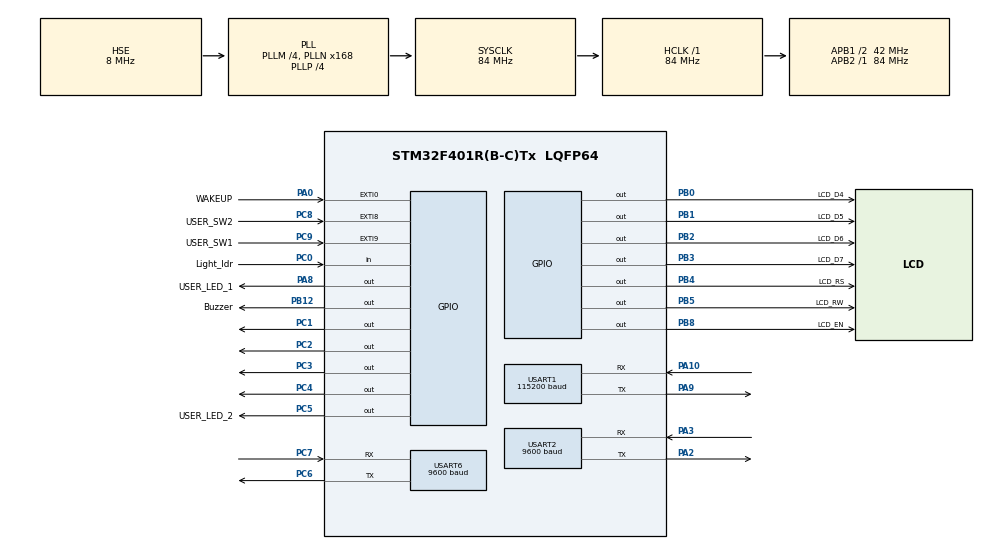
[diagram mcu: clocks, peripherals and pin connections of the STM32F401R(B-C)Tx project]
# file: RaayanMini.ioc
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Mcu.Family=STM32F4
Mcu.Name=STM32F401R(B-C)Tx
Mcu.Package=LQFP64
NVIC.EXTI0_IRQn=true\:0\:0\:false\:false\:true\:true\:true
NVIC.EXTI9_5_IRQn=true\:0\:0\:false\:false\:true\:true\:true
NVIC.PriorityGroup=NVIC_PRIORITYGROUP_4
NVIC.RCC_IRQn=true\:0\:0\:false\:false\:true\:true\:false
NVIC.USART1_IRQn=true\:0\:0\:false\:false\:true\:true\:true
NVIC.USART2_IRQn=true\:0\:0\:false\:false\:true\:true\:true
NVIC.USART6_IRQn=true\:0\:0\:false\:false\:true\:true\:true
PA0-WKUP.GPIO_Label=WAKEUP
PA0-WKUP.GPIO_ModeDefaultEXTI=GPIO_MODE_IT_FALLING
PA0-WKUP.GPIO_PuPd=GPIO_PULLUP
PA0-WKUP.Signal=GPXTI0
PA10.Mode=Asynchronous
PA10.Signal=USART1_RX
PA13.Mode=Serial_Wire
PA13.Signal=SYS_JTMS-SWDIO
PA14.Mode=Serial_Wire
PA14.Signal=SYS_JTCK-SWCLK
PA2.Mode=Asynchronous
PA2.Signal=USART2_TX
PA3.Mode=Asynchronous
PA3.Signal=USART2_RX
PA8.GPIO_Label=USER_LED_1
PA8.Signal=GPIO_Output
PA9.Mode=Asynchronous
PA9.Signal=USART1_TX
PB0.GPIO_Label=LCD_D4
PB0.GPIO_ModeDefaultOutputPP=GPIO_MODE_OUTPUT_PP
PB0.GPIO_PuPd=GPIO_NOPULL
PB0.GPIO_Speed=GPIO_SPEED_FREQ_LOW
PB0.PinState=GPIO_PIN_RESET
PB0.Signal=GPIO_Output
PB1.GPIO_Label=LCD_D5
PB1.GPIO_ModeDefaultOutputPP=GPIO_MODE_OUTPUT_PP
PB1.GPIO_PuPd=GPIO_NOPULL
PB1.GPIO_Speed=GPIO_SPEED_FREQ_LOW
PB1.PinState=GPIO_PIN_RESET
PB1.Signal=GPIO_Output
PB12.GPIO_Label=Buzzer
PB12.Signal=GPIO_Output
PB2.GPIO_Label=LCD_D6
PB2.GPIO_ModeDefaultOutputPP=GPIO_MODE_OUTPUT_PP
PB2.GPIO_PuPd=GPIO_NOPULL
PB2.GPIO_Speed=GPIO_SPEED_FREQ_LOW
PB2.PinState=GPIO_PIN_RESET
PB2.Signal=GPIO_Output
PB3.GPIO_Label=LCD_D7
PB3.GPIO_ModeDefaultOutputPP=GPIO_MODE_OUTPUT_PP
PB3.GPIO_PuPd=GPIO_NOPULL
PB3.GPIO_Speed=GPIO_SPEED_FREQ_LOW
PB3.PinState=GPIO_PIN_RESET
PB3.Signal=GPIO_Output
PB4.GPIO_Label=LCD_RS
PB4.GPIO_ModeDefaultOutputPP=GPIO_MODE_OUTPUT_PP
PB4.GPIO_PuPd=GPIO_NOPULL
PB4.GPIO_Speed=GPIO_SPEED_FREQ_LOW
PB4.PinState=GPIO_PIN_RESET
PB4.Signal=GPIO_Output
PB5.GPIO_Label=LCD_RW
PB5.GPIO_ModeDefaultOutputPP=GPIO_MODE_OUTPUT_PP
PB5.GPIO_PuPd=GPIO_NOPULL
PB5.GPIO_Speed=GPIO_SPEED_FREQ_LOW
PB5.PinState=GPIO_PIN_RESET
PB5.Signal=GPIO_Output
PB8.GPIO_Label=LCD_EN
PB8.GPIO_ModeDefaultOutputPP=GPIO_MODE_OUTPUT_PP
PB8.GPIO_PuPd=GPIO_NOPULL
PB8.GPIO_Speed=GPIO_SPEED_FREQ_LOW
PB8.PinState=GPIO_PIN_RESET
PB8.Signal=GPIO_Output
PC0.GPIO_Label=Light_ldr
PC0.GPIO_PuPd=GPIO_PULLUP
PC0.Signal=GPIO_Input
PC1.Signal=GPIO_Output
PC14-OSC32_IN.Mode=LSE-External-Oscillator
PC14-OSC32_IN.Signal=RCC_OSC32_IN
PC15-OSC32_OUT.Mode=LSE-External-Oscillator
PC15-OSC32_OUT.Signal=RCC_OSC32_OUT
PC2.Signal=GPIO_Output
PC3.Signal=GPIO_Output
PC4.Signal=GPIO_Output
PC5.GPIO_Label=USER_LED_2
PC5.PinState=GPIO_PIN_SET
PC5.Signal=GPIO_Output
PC6.Mode=Asynchronous
PC6.Signal=USART6_TX
PC7.Mode=Asynchronous
PC7.Signal=USART6_RX
PC8.GPIO_Label=USER_SW2
PC8.GPIO_ModeDefaultEXTI=GPIO_MODE_IT_FALLING
PC8.GPIO_PuPd=GPIO_PULLUP
PC8.Signal=GPXTI8
PC9.GPIO_Label=USER_SW1
PC9.GPIO_ModeDefaultEXTI=GPIO_MODE_IT_FALLING
PC9.GPIO_PuPd=GPIO_PULLUP
PC9.Signal=GPXTI9
PH0\ -\ OSC_IN.Mode=HSE-External-Oscillator
PH0\ -\ OSC_IN.Signal=RCC_OSC_IN
PH1\ -\ OSC_OUT.Mode=HSE-External-Oscillator
PH1\ -\ OSC_OUT.Signal=RCC_OSC_OUT
ProjectManager.HeapSize=0x200
ProjectManager.StackSize=0x400
ProjectManager.TargetToolchain=MDK-ARM V5
RCC.48MHZClocksFreq_Value=48000000
RCC.AHBFreq_Value=84000000
RCC.APB1CLKDivider=RCC_HCLK_DIV2
RCC.APB1Freq_Value=42000000
RCC.APB1TimFreq_Value=84000000
RCC.APB2Freq_Value=84000000
RCC.APB2TimFreq_Value=84000000
RCC.CortexFreq_Value=84000000
RCC.HCLKFreq_Value=84000000
RCC.HSE_VALUE=8000000
RCC.HSI_VALUE=16000000
RCC.PLLM=4
RCC.PLLN=168
RCC.PLLP=RCC_PLLP_DIV4
RCC.PLLQ=7
RCC.PLLSourceVirtual=RCC_PLLSOURCE_HSE
RCC.RCC_RTC_Clock_Source=RCC_RTCCLKSOURCE_LSE
RCC.RCC_RTC_Clock_SourceVirtual=RCC_RTCCLKSOURCE_LSE
RCC.SYSCLKFreq_VALUE=84000000
RCC.SYSCLKSource=RCC_SYSCLKSOURCE_PLLCLK
RCC.VCOOutputFreq_Value=336000000
USART1.BaudRate=115200
USART1.VirtualMode=VM_ASYNC
USART2.BaudRate=9600
USART2.VirtualMode=VM_ASYNC
USART6.BaudRate=9600
USART6.VirtualMode=VM_ASYNC
VP_RTC_VS_RTC_Activate.Mode=RTC_Enabled
board=custom

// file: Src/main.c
/* USER CODE BEGIN Header */
/**
  ******************************************************************************
  * @file           : main.c
  * @brief          : Main program body
  ******************************************************************************
  * @attention
  *
  * <h2><center>&copy; Copyright (c) 2020 STMicroelectronics.
  * All rights reserved.</center></h2>
  *
  * This software component is licensed by ST under Ultimate Liberty license
  * SLA0044, the "License"; You may not use this file except in compliance with
  * the License. You may obtain a copy of the License at:
  *                             www.st.com/SLA0044
  *
  ******************************************************************************
  */
/* USER CODE END Header */

#include "main.h"
#include "lcd.h"
#include<string.h>
/* USER CODE BEGIN Includes */
int Rx_Flag=0;

int i;
extern char x[];
extern char data[];
extern char Rx_Buff_Time[];
extern int f_ip;
int st=0;
/* USER CODE END Includes */

RTC_HandleTypeDef hrtc;

UART_HandleTypeDef huart1;
UART_HandleTypeDef huart2;
UART_HandleTypeDef huart6;

void SystemClock_Config(void);
static void MX_GPIO_Init(void);
static void MX_USART1_UART_Init(void);
static void MX_USART2_UART_Init(void);
static void MX_USART6_UART_Init(void);
static void MX_RTC_Init(void);
/* USER CODE BEGIN PFP */
void RM_LCD_Init(void);
void Wifi_Init(void);
 void Wifi_Loop_on_Send(void);
  void Wifi_Loop_off_Send(void);
	void Wifi_Loop_not_Send(void);
	void Rx_Time(void);
//void start_wifi_init_function(void);

/* USER CODE END PFP */

int main(void)
{
  /* USER CODE BEGIN 1 */
 	char str[]="WELCOME TO";
	char str1[]="SMART HOME";
	char r[4];
	st=0;
	static int a1=0x01;
	/*
	Fetch[0]='s';
	Fetch[1]='a';
	Fetch[2]='u';
	Fetch[3]='a';
	Fetch[4]='v';
	*/
i=0;
	Rx_Flag=0;
	int v;
	f_ip=0;

char load0[8]={0x7e,0xff,0x06,0x12,0x00,0x00,0x01,0xef};
char load1[8]={0x7e,0xff,0x06,0x12,0x00,0x00,0x02,0xef};
char party[8]={0x7e,0xff,0x06,0x12,0x00,0x00,0x03,0xef};

char sd[8]={0x7e,0xff,0x06,0x09,0x00,0x00,0x02,0xef};
char vol[8]={0x7e,0xff,0x06,0x06,0x00,0x00,0x0f,0xef};
char vol_dcr[8]={0x7e,0xff,0x06,0x05,0x00,0x00,0x00,0xef};
char vol_inr[8]={0x7e,0xff,0x06,0x04,0x00,0x00,0x00,0xef};

char play_back[8]={0x7e,0xff,0x06,0x11,0x00,0x00,a1,0xef};
char play[8]={0x7e,0xff,0x06,0x0d,0x00,0x00,0x00,0xef};
char pause[8]={0x7e,0xff,0x06,0x0e,0x00,0x00,0x00,0xef};
char stop[8]={0x7e,0xff,0x06,0x09,0x00,0x00,0x00,0xef};
char nxt[8]={0x7e,0xff,0x06,0x01,0x00,0x00,0x00,0xef};
char prv[8]={0x7e,0xff,0x06,0x02,0x00,0x00,0x00,0xef};
int mc=0;
  /* USER CODE END 1 */

  /* MCU Configuration--------------------------------------------------------*/

  /* Reset of all peripherals, Initializes the Flash interface and the Systick. */
  HAL_Init();

  /* Configure the system clock */
  SystemClock_Config();

  /* Initialize all configured peripherals */
  MX_GPIO_Init();
  MX_USART1_UART_Init();
  MX_USART2_UART_Init();
  MX_USART6_UART_Init();
  MX_RTC_Init();
	 RM_LCD_Init();

  /* USER CODE BEGIN 2 */

HAL_GPIO_WritePin(GPIOC, GPIO_PIN_1, GPIO_PIN_RESET);
HAL_GPIO_WritePin(GPIOC, GPIO_PIN_2, GPIO_PIN_RESET);
HAL_GPIO_WritePin(GPIOC, GPIO_PIN_3, GPIO_PIN_RESET);
HAL_GPIO_WritePin(GPIOC, GPIO_PIN_4, GPIO_PIN_RESET);

HAL_UART_Transmit(&huart2,(uint8_t *)sd,8,500);               //SD card init
HAL_Delay(100);
for(v=0;v<10;v++)                                             //volume decrease
{
HAL_UART_Transmit(&huart2,(uint8_t *)vol_dcr,8,500);
HAL_Delay(50);
}

  RM_LCD_Write_Str(3,0, str);
	HAL_Delay(100);
	RM_LCD_Write_Str(3,1, str1);
  HAL_Delay(2000);
	RM_LCD_clear();

		__HAL_UART_ENABLE_IT(&huart1, UART_IT_RXNE);
		//start_wifi_init_function();
		Wifi_Init();
  //HAL_UART_Receive_IT(&huart1, (uint8_t*)r,2);
	//HAL_UART_Transmit(&huart1,(uint8_t*)cmd1, sizeof(cmd), 200);
HAL_Delay(1000);
RM_LCD_Write_Str(3,0,"L1:OFF");
RM_LCD_Write_Str(10,0,"L2:OFF");
RM_LCD_Write_Str(3,1,"L3:OFF");
RM_LCD_Write_Str(10,1,"L4:OFF");
///////////////wait fot ok
  /* USER CODE END 2 */

  /* Infinite loop */
  while (1)
  {
    //HAL_UART_Transmit(&huart1,(uint8_t*)c,3,20);
	HAL_Delay(500);
	Rx_Time();

		/*---------------------if data is received --------------*/
		if(strstr(data,"111"))                  //load1 on (kitchen light)
	{
	HAL_GPIO_WritePin(USER_LED_1_GPIO_Port, USER_LED_1_Pin, GPIO_PIN_RESET);
	HAL_Delay(50);
	HAL_GPIO_WritePin(GPIOC, GPIO_PIN_1, GPIO_PIN_SET);
//	HAL_UART_Transmit(&huart2,(uint8_t *)pause,8,500);
//	HAL_Delay(100);
	HAL_UART_Transmit(&huart2,(uint8_t *)load1,8,500);
	HAL_Delay(500);
		mc=0;
		RM_LCD_Write_Str(3,0,"L1:ON ");
		HAL_Delay(50);
		Rx_Buff_Time[3]=0;
		//data[0]=0;
	}
	else if(strstr(data,"112"))         //load1 off   (kitchen light)
	{
	HAL_GPIO_WritePin(USER_LED_1_GPIO_Port, USER_LED_1_Pin, GPIO_PIN_SET);
	HAL_GPIO_WritePin(GPIOC, GPIO_PIN_1, GPIO_PIN_RESET);
//	HAL_UART_Transmit(&huart2,(uint8_t *)pause,8,500);
//	HAL_Delay(100);
	HAL_UART_Transmit(&huart2,(uint8_t *)load0,8,500);
	HAL_Delay(500);
   mc=0;
		RM_LCD_Write_Str(3,0,"L1:OFF");
		Rx_Buff_Time[3]=0;
		//data[0]=0;
	}

	else if(strstr(data,"121"))        //load2 on    (bathroom light)
	{
	HAL_GPIO_WritePin(USER_LED_2_GPIO_Port, USER_LED_2_Pin, GPIO_PIN_RESET);
	HAL_GPIO_WritePin(GPIOC, GPIO_PIN_2, GPIO_PIN_SET);
//	HAL_UART_Transmit(&huart2,(uint8_t *)pause,8,500);
//	HAL_Delay(100);
	HAL_UART_Transmit(&huart2,(uint8_t *)load1,8,500);
		HAL_Delay(500);
		mc=0;
		RM_LCD_Write_Str(10,0,"L2:ON ");
		Rx_Buff_Time[3]=0;
		//data[0]=0;
	}
	else if(strstr(data,"122"))         // load2 off   (bathroom light)
	{
	HAL_GPIO_WritePin(USER_LED_2_GPIO_Port, USER_LED_2_Pin, GPIO_PIN_SET);
	HAL_GPIO_WritePin(GPIOC, GPIO_PIN_2, GPIO_PIN_RESET);
//	HAL_UART_Transmit(&huart2,(uint8_t *)pause,8,500);
//	HAL_Delay(100);
  HAL_UART_Transmit(&huart2,(uint8_t *)load0,8,500);
		HAL_Delay(500);
		mc=0;
		RM_LCD_Write_Str(10,0,"L2:OFF");
		Rx_Buff_Time[3]=0;
		//data[0]=0;
	}

	else if(strstr(data,"131"))           //load3 on  (bed room AC)
	{
	HAL_GPIO_WritePin(GPIOC, GPIO_PIN_3, GPIO_PIN_SET);
//	HAL_UART_Transmit(&huart2,(uint8_t *)pause,8,500);
//	HAL_Delay(100);
HAL_UART_Transmit(&huart2,(uint8_t *)load1,8,500);
		HAL_Delay(500);
		mc=0;
		RM_LCD_Write_Str(3,1,"L3:ON ");
		Rx_Buff_Time[3]=0;
		//data[0]=0;
	}
	else if(strstr(data,"132"))           //load3 off   (bed room AC)
	{
	HAL_GPIO_WritePin(GPIOC, GPIO_PIN_3, GPIO_PIN_RESET);
//	HAL_UART_Transmit(&huart2,(uint8_t *)pause,8,500);
//	HAL_Delay(100);
	HAL_UART_Transmit(&huart2,(uint8_t *)load0,8,500);
		HAL_Delay(500);
		mc=0;
		RM_LCD_Write_Str(3,1,"L3:OFF");
		Rx_Buff_Time[3]=0;
		//data[0]=0;
	}

	else if(strstr(data,"141"))       //load4 on   (living room light)
	{
	HAL_GPIO_WritePin(GPIOC, GPIO_PIN_4, GPIO_PIN_SET);
//	HAL_UART_Transmit(&huart2,(uint8_t *)pause,8,500);
//	HAL_Delay(100);
		HAL_UART_Transmit(&huart2,(uint8_t *)load1,8,500);
		HAL_Delay(500);
		mc=0;
		RM_LCD_Write_Str(10,1,"L4:ON ");
		Rx_Buff_Time[3]=0;
		//data[0]=0;
	}

	else if(strstr(data,"142"))       //load4 off       (living room light)
	{
	HAL_GPIO_WritePin(GPIOC, GPIO_PIN_4, GPIO_PIN_RESET);
//	HAL_UART_Transmit(&huart2,(uint8_t *)pause,8,500);
//	HAL_Delay(100);
		HAL_UART_Transmit(&huart2,(uint8_t *)load0,8,500);
		HAL_Delay(500);
		mc=0;
		RM_LCD_Write_Str(10,1,"L4:OFF");
		Rx_Buff_Time[3]=0;
		//data[0]=0;
	}
	/*------------------status---------------*/

	else if(strstr(data,"113"))       //load1 status
	{

		{
	 if(HAL_GPIO_ReadPin(GPIOC, GPIO_PIN_1))
		Wifi_Loop_on_Send();
	  else
		Wifi_Loop_off_Send();
	}
	Rx_Buff_Time[3]=0;
	//data[0]=0;
}

  else if(strstr(data,"123"))       //load2 status
	{
	if(HAL_GPIO_ReadPin(GPIOC, GPIO_PIN_2))
		Wifi_Loop_on_Send();
	 else
		Wifi_Loop_off_Send();
	 Rx_Buff_Time[3]=0;
	 //data[0]=0;
	}
	else if(strstr(data,"133"))       //load3 status
	{
	if(HAL_GPIO_ReadPin(GPIOC, GPIO_PIN_3))
		Wifi_Loop_on_Send();
	 else
		Wifi_Loop_off_Send();
	 Rx_Buff_Time[3]=0;
	 //data[0]=0;
	}
	else if(strstr(data,"143"))       //load4 status
	{
	if(HAL_GPIO_ReadPin(GPIOC, GPIO_PIN_4))
		Wifi_Loop_on_Send();
	 else
		Wifi_Loop_off_Send();
	 Rx_Buff_Time[3]=0;
	 //data[0]=0;
	}
	/*------------------mp3 player---------------*/
else if(strstr(data,"151"))       //play
{

	if(mc==0)
	{
  HAL_UART_Transmit(&huart2,(uint8_t *)play_back,8,500);
	HAL_Delay(300);
		mc=1;
	}
	else
	{
	HAL_UART_Transmit(&huart2,(uint8_t *)play,8,500);
	HAL_Delay(300);
	}
		Rx_Buff_Time[3]=0;
}
else if(strstr(data,"152"))       //pause/stop
{
HAL_UART_Transmit(&huart2,(uint8_t *)pause,8,500);
		HAL_Delay(300);
		Rx_Buff_Time[3]=0;
}
else if(strstr(data,"154"))       //next
{
	if(a1<=7)
	{
HAL_UART_Transmit(&huart2,(uint8_t *)nxt,8,500);
		HAL_Delay(300);
		if(a1<7)
			a1++;
		else
			a1=0x01;
	}
		Rx_Buff_Time[3]=0;
}
else if(strstr(data,"155"))       //previous
{
HAL_UART_Transmit(&huart2,(uint8_t *)prv,8,500);
HAL_Delay(300);
Rx_Buff_Time[3]=0;
}
/*------------------party mode---------------*/
else if(strstr(data,"162"))       //party mode on
{
HAL_GPIO_WritePin(GPIOC, GPIO_PIN_1|GPIO_PIN_2|GPIO_PIN_3, GPIO_PIN_RESET);
HAL_Delay(300);
Rx_Buff_Time[3]=0;
RM_LCD_Write_Str(3,0,"L1:OFF");
RM_LCD_Write_Str(10,0,"L2:OFF");
RM_LCD_Write_Str(3,1,"L3:OFF");
RM_LCD_Write_Str(10,1,"L4:OFF");
}
else if(strstr(data,"161"))       //previous
{
HAL_GPIO_WritePin(GPIOC, GPIO_PIN_1|GPIO_PIN_2|GPIO_PIN_3, GPIO_PIN_RESET);
HAL_Delay(500);
HAL_GPIO_WritePin(GPIOC, GPIO_PIN_1, GPIO_PIN_SET);
HAL_GPIO_WritePin(GPIOC, GPIO_PIN_2|GPIO_PIN_3, GPIO_PIN_RESET);
HAL_Delay(500);
HAL_GPIO_WritePin(GPIOC, GPIO_PIN_2, GPIO_PIN_SET);
HAL_GPIO_WritePin(GPIOC, GPIO_PIN_1|GPIO_PIN_3, GPIO_PIN_RESET);
HAL_Delay(500);
HAL_GPIO_WritePin(GPIOC, GPIO_PIN_3, GPIO_PIN_SET);
HAL_GPIO_WritePin(GPIOC, GPIO_PIN_1|GPIO_PIN_2, GPIO_PIN_RESET);
HAL_Delay(500);
HAL_GPIO_WritePin(GPIOC, GPIO_PIN_1|GPIO_PIN_2|GPIO_PIN_2, GPIO_PIN_RESET);
HAL_Delay(500);
HAL_GPIO_WritePin(GPIOC, GPIO_PIN_3, GPIO_PIN_RESET);
HAL_GPIO_WritePin(GPIOC, GPIO_PIN_1|GPIO_PIN_2, GPIO_PIN_SET);
HAL_Delay(500);
HAL_GPIO_WritePin(GPIOC, GPIO_PIN_1, GPIO_PIN_RESET);
HAL_GPIO_WritePin(GPIOC, GPIO_PIN_3|GPIO_PIN_2, GPIO_PIN_SET);
HAL_Delay(500);
HAL_GPIO_WritePin(GPIOC, GPIO_PIN_1|GPIO_PIN_2|GPIO_PIN_2, GPIO_PIN_RESET);
HAL_Delay(500);
HAL_GPIO_WritePin(GPIOC, GPIO_PIN_1|GPIO_PIN_2|GPIO_PIN_2, GPIO_PIN_SET);
HAL_Delay(500);
}

/*---------------------volume control--------------------*/
else if(!(HAL_GPIO_ReadPin(GPIOC, USER_SW2_Pin)))       //if wakeup switch is pressed
{
for(v=0;v<5;v++)                                             //volume decrease
{
HAL_UART_Transmit(&huart2,(uint8_t *)vol_dcr,8,500);
HAL_Delay(50);
}
}
else if(!(HAL_GPIO_ReadPin(GPIOC, USER_SW1_Pin)))       //if wakeup switch is pressed
{
for(v=0;v<5;v++)                                             //volume increase
{
HAL_UART_Transmit(&huart2,(uint8_t *)vol_inr,8,500);
HAL_Delay(50);
}
}
}
}

/*
void start_wifi_init_function(void)
{

HAL_Delay(4000);
//////////////////////////
HAL_UART_Transmit(&huart1,(uint8_t*)cmd1, sizeof(cmd1), 1000);
HAL_Delay(1000);
//r_flag=0;
//////////////////wait for ready
HAL_UART_Transmit(&huart1,(uint8_t*)cmd2, sizeof(cmd2), 1000);
while(1)
{
	if(Rx_Flag==1)
		{
		if(strstr(x,"OK"))
		{
		HAL_Delay(100);
		RM_LCD_Write_Str(0,1,"1");
		Rx_Flag=0;
		break;
		}
		}
}
///////////////wait fot ok
HAL_UART_Transmit(&huart1,(uint8_t*)cmd3, sizeof(cmd3), 1000);
while(1)
{
	if(Rx_Flag==1)
		{
		if(strstr(x,"OK"))
		{
		HAL_Delay(100);
		RM_LCD_Write_Str(0,1,"2");
			Rx_Flag=0;
break;
		}
	}
}
///////////////wait fot ok
HAL_UART_Transmit(&huart1,(uint8_t*)cmd4, sizeof(cmd4), 1000);
while(1)
{
	if(Rx_Flag==1)
		{
		if(strstr(x,"OK"))
		{
		HAL_Delay(100);
		RM_LCD_Write_Str(0,1,"3");
			Rx_Flag=0;
break;
		}
	}
}
///////////////wait fot ok
HAL_UART_Transmit(&huart1,(uint8_t*)cmd5, sizeof(cmd5), 1000);
while(1)
{
	if(Rx_Flag==1)
		{
		if(strstr(x,"OK"))
		{
		HAL_Delay(100);
		RM_LCD_Write_Str(0,1,"4");
			Rx_Flag=0;
break;
		}
	}
}
///////////////wait fot ok
HAL_UART_Transmit(&huart1,(uint8_t*)cmd6, sizeof(cmd6), 1000);
while(1)
{
	if(Rx_Flag==1)
		{
		if(strstr(x,"OK"))
		{
		HAL_Delay(100);
		RM_LCD_Write_Str(0,1,"5");
			Rx_Flag=0;
break;
		}
	}
}
///////////////wait fot ok
HAL_UART_Transmit(&huart1,(uint8_t*)cmd7, sizeof(cmd7), 1000);
while(1)
{
	if(Rx_Flag==1)
		{
		if(strstr(x,"OK"))
		{
		HAL_Delay(100);
		RM_LCD_Write_Str(0,1,"connected");
			Rx_Flag=0;
break;
		}
	}
}
///////////////wait fot ok
}
*/

void SystemClock_Config(void)
{
  RCC_OscInitTypeDef RCC_OscInitStruct = {0};
  RCC_ClkInitTypeDef RCC_ClkInitStruct = {0};
  RCC_PeriphCLKInitTypeDef PeriphClkInitStruct = {0};

  /** Configure the main internal regulator output voltage
  */
  __HAL_RCC_PWR_CLK_ENABLE();
  __HAL_PWR_VOLTAGESCALING_CONFIG(PWR_REGULATOR_VOLTAGE_SCALE2);
  /** Initializes the CPU, AHB and APB busses clocks
  */
  RCC_OscInitStruct.OscillatorType = RCC_OSCILLATORTYPE_HSE|RCC_OSCILLATORTYPE_LSE;
  RCC_OscInitStruct.HSEState = RCC_HSE_ON;
  RCC_OscInitStruct.LSEState = RCC_LSE_ON;
  RCC_OscInitStruct.PLL.PLLState = RCC_PLL_ON;
  RCC_OscInitStruct.PLL.PLLSource = RCC_PLLSOURCE_HSE;
  RCC_OscInitStruct.PLL.PLLM = 4;
  RCC_OscInitStruct.PLL.PLLN = 168;
  RCC_OscInitStruct.PLL.PLLP = RCC_PLLP_DIV4;
  RCC_OscInitStruct.PLL.PLLQ = 7;
  if (HAL_RCC_OscConfig(&RCC_OscInitStruct) != HAL_OK)
  {
    Error_Handler();
  }
  /** Initializes the CPU, AHB and APB busses clocks
  */
  RCC_ClkInitStruct.ClockType = RCC_CLOCKTYPE_HCLK|RCC_CLOCKTYPE_SYSCLK
                              |RCC_CLOCKTYPE_PCLK1|RCC_CLOCKTYPE_PCLK2;
  RCC_ClkInitStruct.SYSCLKSource = RCC_SYSCLKSOURCE_PLLCLK;
  RCC_ClkInitStruct.AHBCLKDivider = RCC_SYSCLK_DIV1;
  RCC_ClkInitStruct.APB1CLKDivider = RCC_HCLK_DIV2;
  RCC_ClkInitStruct.APB2CLKDivider = RCC_HCLK_DIV1;

  if (HAL_RCC_ClockConfig(&RCC_ClkInitStruct, FLASH_LATENCY_2) != HAL_OK)
  {
    Error_Handler();
  }
  PeriphClkInitStruct.PeriphClockSelection = RCC_PERIPHCLK_RTC;
  PeriphClkInitStruct.RTCClockSelection = RCC_RTCCLKSOURCE_LSE;
  if (HAL_RCCEx_PeriphCLKConfig(&PeriphClkInitStruct) != HAL_OK)
  {
    Error_Handler();
  }
}

static void MX_RTC_Init(void)
{

  /** Initialize RTC Only
  */
  hrtc.Instance = RTC;
  hrtc.Init.HourFormat = RTC_HOURFORMAT_24;
  hrtc.Init.AsynchPrediv = 127;
  hrtc.Init.SynchPrediv = 255;
  hrtc.Init.OutPut = RTC_OUTPUT_DISABLE;
  hrtc.Init.OutPutPolarity = RTC_OUTPUT_POLARITY_HIGH;
  hrtc.Init.OutPutType = RTC_OUTPUT_TYPE_OPENDRAIN;
  if (HAL_RTC_Init(&hrtc) != HAL_OK)
  {
    Error_Handler();
  }

}

static void MX_USART1_UART_Init(void)
{

  huart1.Instance = USART1;
  huart1.Init.BaudRate = 115200;
  huart1.Init.WordLength = UART_WORDLENGTH_8B;
  huart1.Init.StopBits = UART_STOPBITS_1;
  huart1.Init.Parity = UART_PARITY_NONE;
  huart1.Init.Mode = UART_MODE_TX_RX;
  huart1.Init.HwFlowCtl = UART_HWCONTROL_NONE;
  huart1.Init.OverSampling = UART_OVERSAMPLING_16;
  if (HAL_UART_Init(&huart1) != HAL_OK)
  {
    Error_Handler();
  }

}

static void MX_USART2_UART_Init(void)
{

  huart2.Instance = USART2;
  huart2.Init.BaudRate = 9600;
  huart2.Init.WordLength = UART_WORDLENGTH_8B;
  huart2.Init.StopBits = UART_STOPBITS_1;
  huart2.Init.Parity = UART_PARITY_NONE;
  huart2.Init.Mode = UART_MODE_TX_RX;
  huart2.Init.HwFlowCtl = UART_HWCONTROL_NONE;
  huart2.Init.OverSampling = UART_OVERSAMPLING_16;
  if (HAL_UART_Init(&huart2) != HAL_OK)
  {
    Error_Handler();
  }

}

static void MX_USART6_UART_Init(void)
{

  huart6.Instance = USART6;
  huart6.Init.BaudRate = 9600;
  huart6.Init.WordLength = UART_WORDLENGTH_8B;
  huart6.Init.StopBits = UART_STOPBITS_1;
  huart6.Init.Parity = UART_PARITY_NONE;
  huart6.Init.Mode = UART_MODE_TX_RX;
  huart6.Init.HwFlowCtl = UART_HWCONTROL_NONE;
  huart6.Init.OverSampling = UART_OVERSAMPLING_16;
  if (HAL_UART_Init(&huart6) != HAL_OK)
  {
    Error_Handler();
  }

}

static void MX_GPIO_Init(void)
{
  GPIO_InitTypeDef GPIO_InitStruct = {0};

  /* GPIO Ports Clock Enable */
  __HAL_RCC_GPIOC_CLK_ENABLE();
  __HAL_RCC_GPIOH_CLK_ENABLE();
  __HAL_RCC_GPIOA_CLK_ENABLE();
  __HAL_RCC_GPIOB_CLK_ENABLE();

  /*Configure GPIO pin Output Level */
  HAL_GPIO_WritePin(GPIOC, GPIO_PIN_1|GPIO_PIN_2|GPIO_PIN_3|GPIO_PIN_4, GPIO_PIN_RESET);

  /*Configure GPIO pin Output Level */
  HAL_GPIO_WritePin(USER_LED_2_GPIO_Port, USER_LED_2_Pin, GPIO_PIN_SET);

  /*Configure GPIO pin Output Level */
  HAL_GPIO_WritePin(GPIOB, LCD_D4_Pin|LCD_D5_Pin|LCD_D6_Pin|Buzzer_Pin
                          |LCD_D7_Pin|LCD_RS_Pin|LCD_RW_Pin|LCD_EN_Pin, GPIO_PIN_RESET);

  /*Configure GPIO pin Output Level */
  HAL_GPIO_WritePin(USER_LED_1_GPIO_Port, USER_LED_1_Pin, GPIO_PIN_RESET);

  /*Configure GPIO pins : PC1 PC2 PC3 PC4
                           USER_LED_2_Pin */
  GPIO_InitStruct.Pin = GPIO_PIN_1|GPIO_PIN_2|GPIO_PIN_3|GPIO_PIN_4
                          |USER_LED_2_Pin;
  GPIO_InitStruct.Mode = GPIO_MODE_OUTPUT_PP;
  GPIO_InitStruct.Pull = GPIO_NOPULL;
  GPIO_InitStruct.Speed = GPIO_SPEED_FREQ_LOW;
  HAL_GPIO_Init(GPIOC, &GPIO_InitStruct);

  /*Configure GPIO pin : WAKEUP_Pin */
  GPIO_InitStruct.Pin = WAKEUP_Pin;
  GPIO_InitStruct.Mode = GPIO_MODE_IT_FALLING;
  GPIO_InitStruct.Pull = GPIO_PULLUP;
  HAL_GPIO_Init(WAKEUP_GPIO_Port, &GPIO_InitStruct);

  /*Configure GPIO pins : LCD_D4_Pin LCD_D5_Pin LCD_D6_Pin Buzzer_Pin
                           LCD_D7_Pin LCD_RS_Pin LCD_RW_Pin LCD_EN_Pin */
  GPIO_InitStruct.Pin = LCD_D4_Pin|LCD_D5_Pin|LCD_D6_Pin|Buzzer_Pin
                          |LCD_D7_Pin|LCD_RS_Pin|LCD_RW_Pin|LCD_EN_Pin;
  GPIO_InitStruct.Mode = GPIO_MODE_OUTPUT_PP;
  GPIO_InitStruct.Pull = GPIO_NOPULL;
  GPIO_InitStruct.Speed = GPIO_SPEED_FREQ_LOW;
  HAL_GPIO_Init(GPIOB, &GPIO_InitStruct);

  /*Configure GPIO pins : USER_SW2_Pin USER_SW1_Pin */
  GPIO_InitStruct.Pin = USER_SW2_Pin|USER_SW1_Pin;
  GPIO_InitStruct.Mode = GPIO_MODE_IT_FALLING;
  GPIO_InitStruct.Pull = GPIO_PULLUP;
  HAL_GPIO_Init(GPIOC, &GPIO_InitStruct);

  /*Configure GPIO pin : USER_LED_1_Pin */
  GPIO_InitStruct.Pin = USER_LED_1_Pin;
  GPIO_InitStruct.Mode = GPIO_MODE_OUTPUT_PP;
  GPIO_InitStruct.Pull = GPIO_NOPULL;
  GPIO_InitStruct.Speed = GPIO_SPEED_FREQ_LOW;
  HAL_GPIO_Init(USER_LED_1_GPIO_Port, &GPIO_InitStruct);

  /* EXTI interrupt init*/
  HAL_NVIC_SetPriority(EXTI0_IRQn, 0, 0);
  HAL_NVIC_EnableIRQ(EXTI0_IRQn);

  HAL_NVIC_SetPriority(EXTI9_5_IRQn, 0, 0);
  HAL_NVIC_EnableIRQ(EXTI9_5_IRQn);

}

void Error_Handler(void)
{
}

/************************ (C) COPYRIGHT STMicroelectronics *****END OF FILE****/
